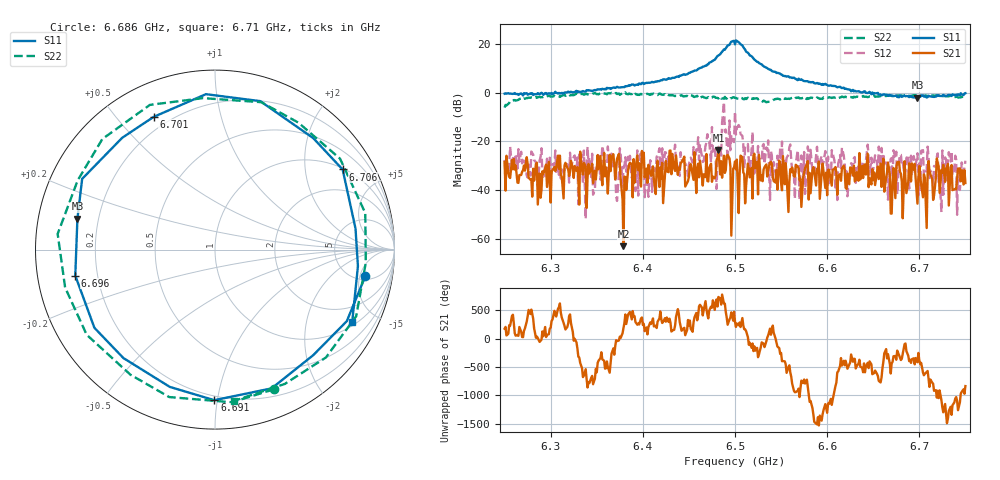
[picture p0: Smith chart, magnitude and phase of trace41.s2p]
# Hz S RI R 50
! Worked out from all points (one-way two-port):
!   401 points, 6.25 GHz to 6.75 GHz, reference 50 ohm
!   highest |S21| = -23.60 dB at 6.482 GHz (marker M1); lowest = -63.0 dB at 6.379 GHz (marker M2)
!   lowest |S11| = -2.1 dB at 6.698 GHz (marker M3), VSWR 8.33, Z = 6.08 + j5.45 ohm
!   |S11| at or under -10 dB: nowhere
!   |S22| runs from -6.2 to 0.1 dB; largest |S21 - S12| = 0.59
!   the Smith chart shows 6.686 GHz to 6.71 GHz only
!   S11 on the Smith chart (normalised r, x): 6.686 GHz: 5.80, -6.15; 6.691 GHz: 0.17, -0.98; 6.696 GHz: 0.12, -0.09; 6.701 GHz: 0.14, +0.63; 6.706 GHz: 1.04, +3.16; 6.71 GHz: 1.15, -3.69
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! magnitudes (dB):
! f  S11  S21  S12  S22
! 6.25 GHz  -0.5  -28.5  -27.6  -6.2
! 6.334 GHz  0.4  -31.8  -25.5  -0.6
! 6.366 GHz  1.8  -26.6  -25.0  -0.2
! 6.379 GHz  2.2  -63.0  -30.4  -0.7
! 6.385 GHz  3.0  -29.8  -31.1  -0.4
! 6.404 GHz  4.0  -31.2  -33.8  -0.6
! 6.418 GHz  4.7  -38.7  -22.9  -0.4
! 6.482 GHz  15.2  -23.6  -22.4  -2.5
! 6.489 GHz  17.6  -32.9  -16.0  -1.8
! 6.5 GHz  19.8  -28.3  -7.8  -2.2
! 6.522 GHz  13.2  -31.0  -31.4  -2.4
! 6.584 GHz  4.3  -31.9  -32.4  -2.2
! 6.668 GHz  -1.0  -33.5  -29.5  -1.2
! 6.686 GHz  -1.4  -41.2  -26.8  -1.5
! 6.691 GHz  -1.5  -36.4  -25.9  -1.3
! 6.696 GHz  -2.0  -35.3  -30.0  -1.1
! 6.698 GHz  -2.1  -45.5  -24.9  -1.1
! 6.701 GHz  -1.8  -34.4  -39.8  -1.4
! 6.706 GHz  -1.5  -34.9  -33.5  -1.2
! 6.71 GHz  -1.3  -28.1  -26.5  -1.4
! 6.724 GHz  -1.4  -31.7  -49.0  -1.5
! 6.75 GHz  -0.3  -37.1  -28.0  -2.1
